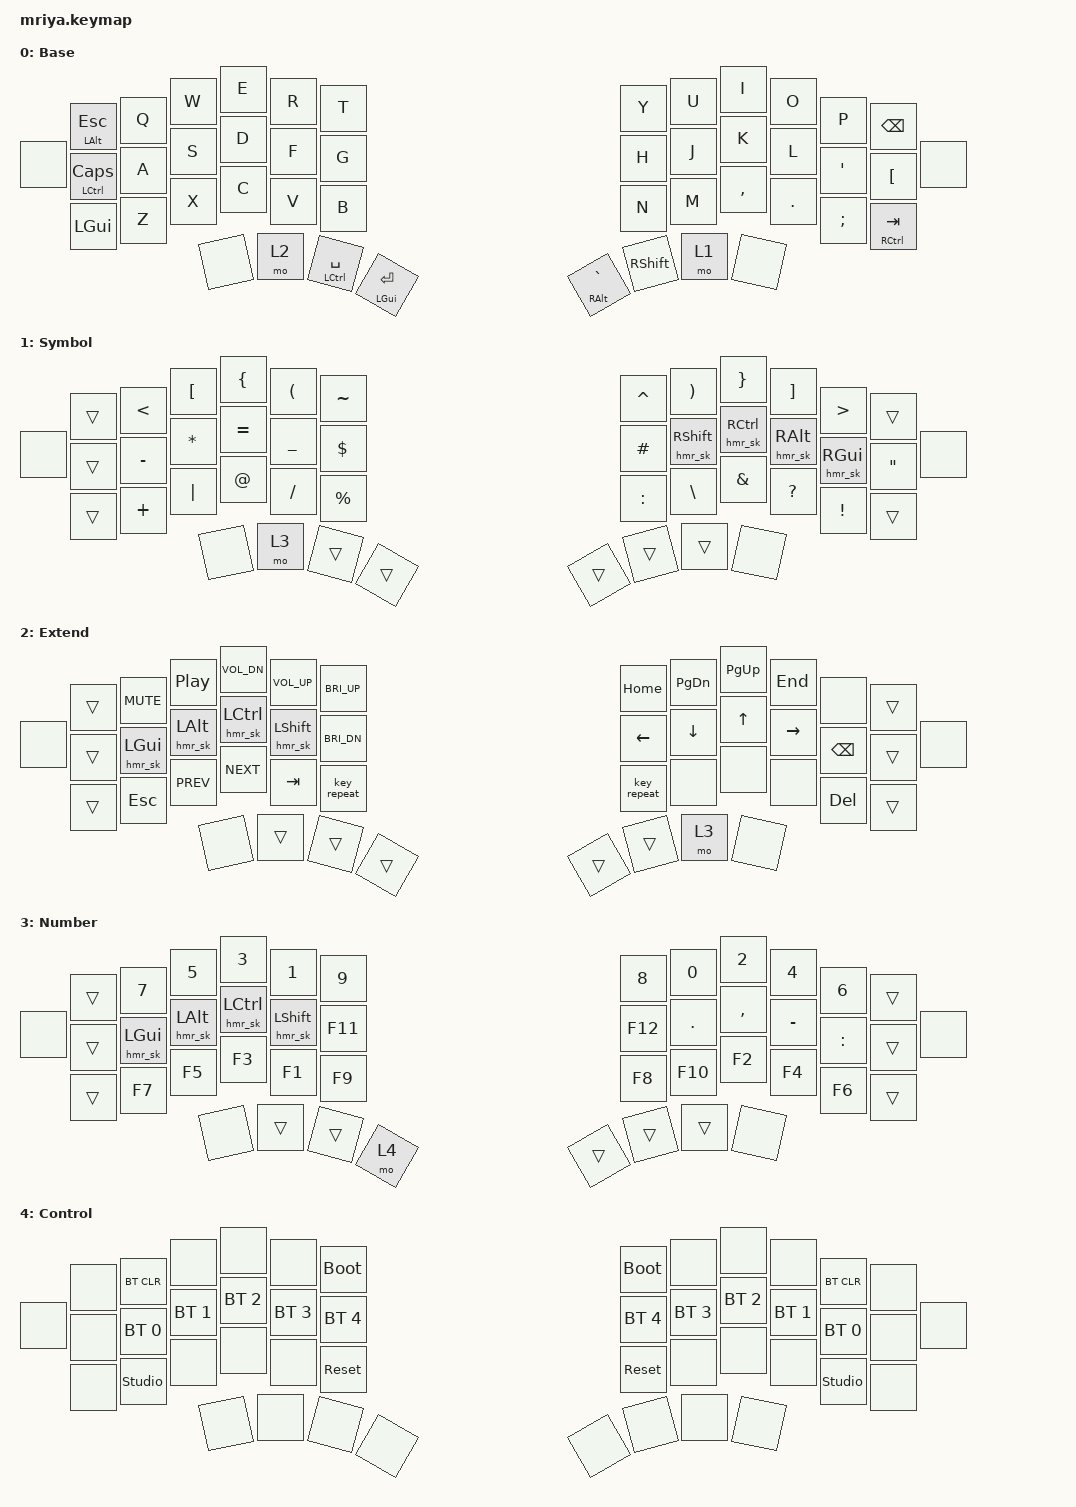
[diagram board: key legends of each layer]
/*
 * Copyright (c) 2023 Andrei Gaevskii
 *
 * SPDX-License-Identifier: MIT
 */

#include <behaviors.dtsi>
#include <dt-bindings/zmk/bt.h>
#include <dt-bindings/zmk/keys.h>

#define DEF 0
#define LWR 1
#define RSE 2
#define ADJ 3

&lt { quick_tap_ms = <200>; };

&mt {
    quick_tap_ms = <200>;
    tapping-term-ms = <200>;
    require-prior-idle-ms = <125>;
    flavor = "tap-preferred";
};

/ {
    behaviors {
        hmr_sk: hmr_sk {
            compatible = "zmk,behavior-sticky-key";
            label = "HMR_SK";
            bindings = <&kp>;
            #binding-cells = <1>;
            ignore-modifiers;
            release-after-ms = <2000>;
        };
    };

    keymap {
        compatible = "zmk,keymap";

        default_layer {
            display-name = "Base";
            bindings = <
&none               &mt LALT ESC        &kp Q               &kp W               &kp E               &kp R               &kp T               &kp Y               &kp U               &kp I               &kp O               &kp P               &kp BACKSPACE       &none
                    &mt LCTRL CAPS      &kp A               &kp S               &kp D               &kp F               &kp G               &kp H               &kp J               &kp K               &kp L               &kp SQT             &kp LEFT_BRACKET
                    &kp LGUI            &kp Z               &kp X               &kp C               &kp V               &kp B               &kp N               &kp M               &kp COMMA           &kp DOT             &kp SEMICOLON       &mt RCTRL TAB
                                                            &none               &mo 2               &mt LCTRL SPACE     &mt LGUI RET        &mt RALT GRAVE      &kp RIGHT_SHIFT     &mo 1               &none
            >;
        };

        symbol_layer {
            display-name = "Symbol";
            bindings = <
&none               &trans              &kp LESS_THAN       &kp LEFT_BRACKET    &kp LEFT_BRACE      &kp LEFT_PARENTHESIS  &kp TILDE           &kp CARET           &kp RIGHT_PARENTHESIS  &kp RIGHT_BRACE     &kp RIGHT_BRACKET   &kp GREATER_THAN    &trans              &none
                    &trans              &kp MINUS           &kp ASTERISK        &kp EQUAL           &kp UNDER           &kp DLLR            &kp HASH            &hmr_sk RIGHT_SHIFT  &hmr_sk RCTRL       &hmr_sk RIGHT_ALT   &hmr_sk RIGHT_GUI   &kp DQT
                    &trans              &kp PLUS            &kp PIPE            &kp AT              &kp SLASH           &kp PRCNT           &kp COLON           &kp BACKSLASH       &kp AMPS            &kp QMARK           &kp EXCL            &trans
                                                            &none               &mo 3               &trans              &trans              &trans              &trans              &trans              &none
            >;
        };

        extend_layer {
            display-name = "Extend";
            bindings = <
&none               &trans              &kp C_MUTE          &kp C_PLAY_PAUSE    &kp C_VOL_DN        &kp C_VOL_UP        &kp C_BRI_UP        &kp HOME            &kp PAGE_DOWN       &kp PG_UP           &kp END             &none               &trans              &none
                    &trans              &hmr_sk LEFT_GUI    &hmr_sk LEFT_ALT    &hmr_sk LEFT_CONTROL  &hmr_sk LEFT_SHIFT  &kp C_BRI_DN        &kp LEFT_ARROW      &kp DOWN_ARROW      &kp UP_ARROW        &kp RIGHT_ARROW     &kp BACKSPACE       &trans
                    &trans              &kp ESCAPE          &kp C_PREV          &kp C_NEXT          &kp TAB             &key_repeat         &key_repeat         &none               &none               &none               &kp DELETE          &trans
                                                            &none               &trans              &trans              &trans              &trans              &trans              &mo 3               &none
            >;
        };

        number_layer {
            display-name = "Number";
            bindings = <
&none               &trans              &kp N7              &kp N5              &kp N3              &kp N1              &kp N9              &kp N8              &kp N0              &kp N2              &kp N4              &kp N6              &trans              &none
                    &trans              &hmr_sk LGUI        &hmr_sk LALT        &hmr_sk LCTRL       &hmr_sk LSHFT       &kp F11             &kp F12             &kp DOT             &kp COMMA           &kp MINUS           &kp COLON           &trans
                    &trans              &kp F7              &kp F5              &kp F3              &kp F1              &kp F9              &kp F8              &kp F10             &kp F2              &kp F4              &kp F6              &trans
                                                            &none               &trans              &trans              &mo 4               &trans              &trans              &trans              &none
            >;
        };

        control_layer {
            display-name = "Control";
            bindings = <
&none               &none               &bt BT_CLR          &none               &none               &none               &bootloader         &bootloader         &none               &none               &none               &bt BT_CLR          &none               &none
                    &none               &bt BT_SEL 0        &bt BT_SEL 1        &bt BT_SEL 2        &bt BT_SEL 3        &bt BT_SEL 4        &bt BT_SEL 4        &bt BT_SEL 3        &bt BT_SEL 2        &bt BT_SEL 1        &bt BT_SEL 0        &none
                    &none               &studio_unlock      &none               &none               &none               &sys_reset          &sys_reset          &none               &none               &none               &studio_unlock      &none
                                                            &none               &none               &none               &none               &none               &none               &none               &none
            >;
        };
    };
};
